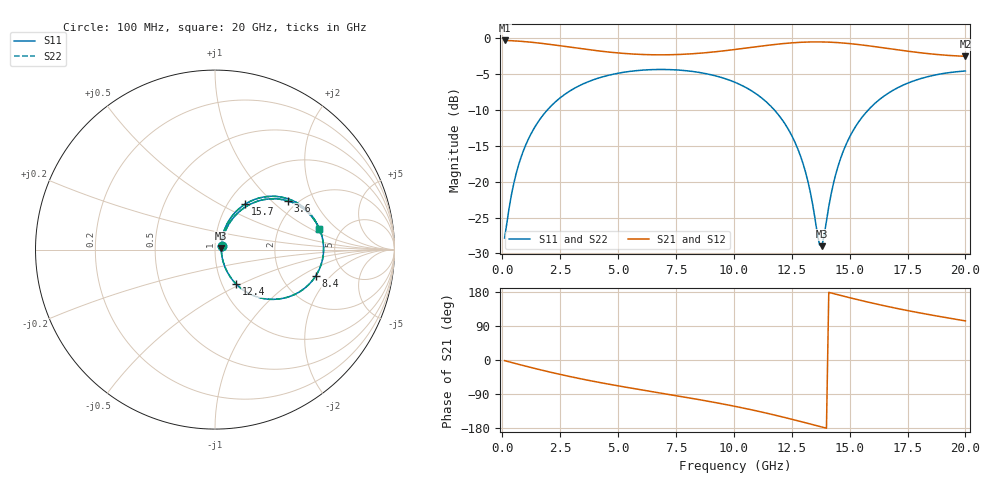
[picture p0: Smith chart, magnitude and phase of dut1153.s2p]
! Touchstone file exported from HFSS 2026.1.0
!  File:  C:/ffzhzh/LocalFiles/Ansys_Project_Files/temp_train_TSV_RDL_1153_1783311322_38820.aedt
!  Generated:  12:26:01 PM Jul  6, 2026
!  Design:  TSV_RDL
!  Project:  temp_train_TSV_RDL_1153_1783311322_38820
! Variables:
!  h_bsmrdl = 2.76um
!  h_ox = 20um
!  h_rdl = 5um
!  h_sub = 57.85um
!  h_tmrdl = 3.22um
!  h_tsv = 57.85um
!  h_via = 3um
!  l_bsmrdl = 367.81um
!  l_sub = 4418.39um
!  l_tmrdl = 709.93um
!  m_sub = 200um
!  pitch = 39.45um
!  r_tsv = 8.49um
!  s_tmrdl = 10um
!  w_bsmrdl = 12.48um
!  w_sub = 500um
!  w_tmrdl = 12.6um
!  x_tsv_center1 = 716.23um
!  x_tsv_center2 = 1096.52um
!  x_tsv_center3 = 1819.05um
!  x_tsv_center4 = 2199.34um
!  x_tsv_center5 = 2921.87um
!  x_tsv_center6 = 3302.16um
# GHz S MA R 50.000000
! Terminal data exported
! Port[1] = TM_RDL1_1_T1
! Port[2] = TM_RDL5_1_T1
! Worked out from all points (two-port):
!   200 points, 100 MHz to 20 GHz, reference 50 ohm
!   highest |S21| = -0.32 dB at 100 MHz (marker M1); lowest = -2.5 dB at 20 GHz (marker M2)
!   |S21| within 3 dB of the highest: start of sweep to end of sweep
!   lowest |S11| = -29.0 dB at 13.8 GHz (marker M3), VSWR 1.07, Z = 53.6 + j0.817 ohm
!   |S11| at or under -10 dB: start of sweep to 1.949 GHz; 11.75 GHz to 15.81 GHz (4.059 GHz wide, 29.5 % of centre)
!   |S22| runs from -28.9 to -4.4 dB; largest |S21 - S12| = 2.7e-14
!   S11 on the Smith chart (normalised r, x): 100 MHz: 1.08, +0.04; 3.6 GHz: 1.79, +1.27; 8.4 GHz: 3.11, -1.36; 12.4 GHz: 1.16, -0.47; 15.7 GHz: 1.20, +0.67; 20 GHz: 3.41, +1.22
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0.1  0.0405 25.6  0.9638 -1.7  0.9638 -1.7  0.0405 25.6
! Gamma 0 0 0 0
! Port Impedance 50 0 50 0
0.6  0.1141 60.4  0.9557 -9.8  0.9557 -9.8  0.1141 60.4
1.2  0.2092 59.8  0.9387 -19.2  0.9387 -19.2  0.2092 59.8
2.2  0.3484 49.6  0.8986 -33.9  0.8986 -33.9  0.3484 49.6
3.5  0.4809 34.8  0.8406 -51.0  0.8406 -51.0  0.4809 34.8
3.6  0.4888 33.7  0.8364 -52.2  0.8364 -52.2  0.4888 33.7
5.2  0.577 16.8  0.784 -70.3  0.784 -70.3  0.577 16.8
6.8  0.6051 1.2  0.7653 -86.9  0.7653 -86.9  0.6051 1.2
8.4  0.5805 -14.5  0.7825 -103.5  0.7825 -103.5  0.5805 -14.5
10.1  0.4885 -32.5  0.8359 -122.9  0.8359 -122.9  0.4885 -32.5
11.4  0.3601 -47.6  0.8894 -140.1  0.8894 -140.1  0.3601 -47.6
12.4  0.2246 -58.5  0.9246 -154.8  0.9246 -154.8  0.2246 -58.4
13  0.1318 -61.1  0.9377 -164.1  0.9377 -164.1  0.1318 -61.0
13.4  0.06996 -52.7  0.9416 -170.4  0.9416 -170.4  0.07006 -52.5
13.7  0.03629 -13.3  0.9418 -175.2  0.9418 -175.2  0.03649 -13.2
13.8  0.03554 12.4  0.9414 -176.8  0.9414 -176.8  0.03575 12.3
14.2  0.08178 59.9  0.9369 176.8  0.9369 176.8  0.08188 59.7
14.6  0.1436 65.0  0.9284 170.6  0.9284 170.6  0.1437 64.9
15.7  0.3025 56.5  0.8898 154.1  0.8898 154.1  0.3026 56.5
16.7  0.4166 45.3  0.8457 140.4  0.8457 140.4  0.4167 45.2
18.1  0.5243 30.1  0.7897 123.5  0.7897 123.5  0.5244 30.0
20  0.5904 11.4  0.7475 103.2  0.7475 103.2  0.5904 11.4
